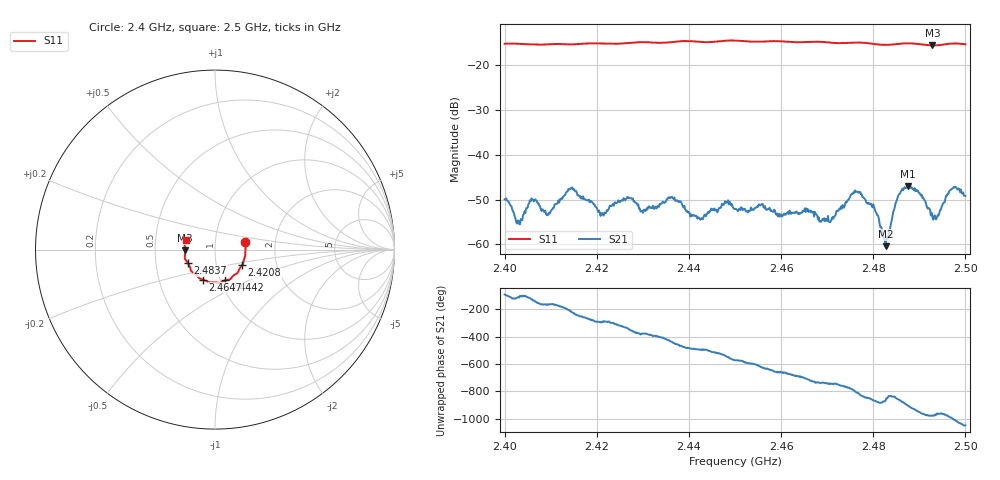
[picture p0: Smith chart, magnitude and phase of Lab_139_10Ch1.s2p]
# Hz S RI R 50
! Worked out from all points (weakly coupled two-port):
!   601 points, 2.4 GHz to 2.5 GHz, reference 50 ohm
!   highest |S21| = -47.01 dB at 2.4875 GHz (marker M1); lowest = -60.4 dB at 2.4827 GHz (marker M2)
!   lowest |S11| = -15.6 dB at 2.4928 GHz (marker M3), VSWR 1.40, Z = 35.8 - j0.338 ohm
!   |S11| at or under -10 dB: start of sweep to end of sweep
!   S12 and S22 are empty: the file has one direction only
!   S11 on the Smith chart (normalised r, x): 2.4 GHz: 1.40, +0.12; 2.4208 GHz: 1.33, -0.24; 2.4442 GHz: 1.05, -0.37; 2.4647 GHz: 0.83, -0.29; 2.4837 GHz: 0.73, -0.11; 2.5 GHz: 0.72, +0.08
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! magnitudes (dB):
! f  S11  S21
! 2.4 GHz  -15.3  -50.0
! 2.403 GHz  -15.2  -54.7
! 2.406 GHz  -15.4  -49.9
! 2.4095 GHz  -15.3  -53.4
! 2.4142 GHz  -15.4  -47.6
! 2.4167 GHz  -15.2  -49.4
! 2.4208 GHz  -15.2  -53.6
! 2.4333 GHz  -15.0  -51.4
! 2.4442 GHz  -14.9  -52.7
! 2.45 GHz  -14.5  -52.1
! 2.4647 GHz  -14.9  -52.6
! 2.4667 GHz  -14.8  -52.6
! 2.4708 GHz  -15.0  -54.7
! 2.4767 GHz  -15.0  -48.4
! 2.4827 GHz  -15.5  -60.4
! 2.4833 GHz  -15.5  -57.9
! 2.4837 GHz  -15.4  -56.4
! 2.4853 GHz  -15.3  -49.3
! 2.4875 GHz  -15.1  -47.0
! 2.4928 GHz  -15.6  -53.8
! 2.4973 GHz  -15.2  -47.4
! 2.5 GHz  -15.4  -49.2
